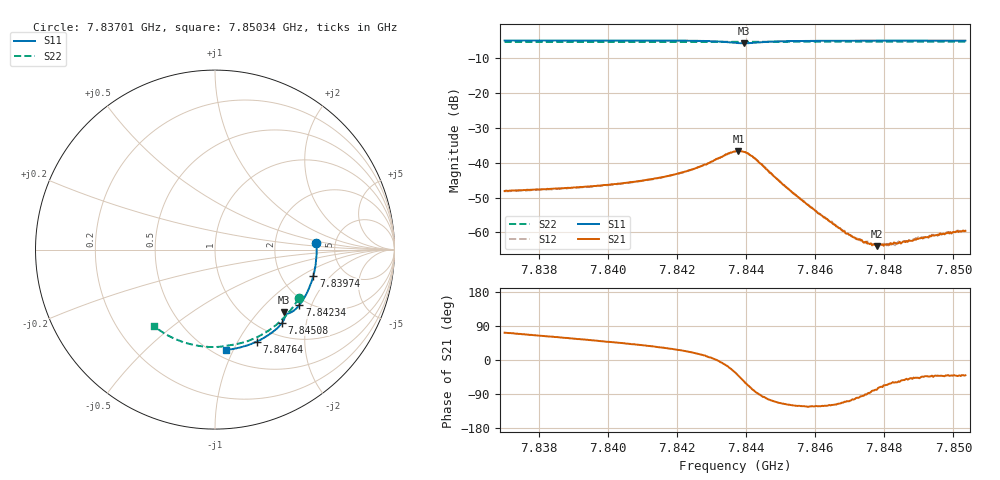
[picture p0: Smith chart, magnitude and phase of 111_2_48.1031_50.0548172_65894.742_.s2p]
#  HZ  S  RI  R  50.00
! Rohde & Schwarz Vector Network Analyzer
! Rohde-Schwarz,ZNB20-2Port,1311601062101988,3.16
! Created: UTC 12/23/2023, 3:45:45 AM
! freq[Hz]  re:S11  im:S11  re:S21  im:S21  re:S12  im:S12  re:S22  im:S22
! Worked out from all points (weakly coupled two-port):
!   401 points, 7.83701 GHz to 7.85034 GHz, reference 50 ohm
!   highest |S21| = -36.62 dB at 7.84378 GHz (marker M1); lowest = -63.9 dB at 7.84778 GHz (marker M2)
!   lowest |S11| = -5.7 dB at 7.84394 GHz (marker M3), VSWR 3.14, Z = 73.1 - j69.1 ohm
!   |S11| at or under -10 dB: nowhere
!   |S22| runs from -5.4 to -5.3 dB; largest |S21 - S12| = 0.00032
!   S11 on the Smith chart (normalised r, x): 7.83701 GHz: 3.57, +0.36; 7.83974 GHz: 3.00, -1.29; 7.84234 GHz: 1.82, -1.64; 7.84508 GHz: 1.25, -1.46; 7.84764 GHz: 0.80, -1.20; 7.85034 GHz: 0.57, -0.93
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7.837012e9  0.5651 0.0347  0.00121 0.00373  0.00124 0.00367  0.4667 -0.2709
7.839245e9  0.5555 -0.1133  0.0026 0.00364  0.00258 0.00361  0.3704 -0.3935
7.839745e9  0.5478 -0.1461  0.003 0.00359  0.00301 0.00356  0.3441 -0.4169
7.841478e9  0.5044 -0.2562  0.00506 0.00337  0.005 0.00338  0.2427 -0.4838
7.842345e9  0.4704 -0.3084  0.00721 0.00285  0.00713 0.0029  0.1869 -0.5081
7.843178e9  0.4217 -0.3511  0.0114 -0.000313  0.0113 -0.000262  0.1304 -0.5246
7.843678e9  0.3866 -0.3541  0.0122 -0.00776  0.0121 -0.00768  0.097 -0.5304
7.843778e9  0.3831 -0.351  0.0111 -0.00973  0.0111 -0.00968  0.0908 -0.5313
7.843945e9  0.3824 -0.347  0.00779 -0.0119  0.00782 -0.0119  0.0802 -0.533
7.844245e9  0.3897 -0.3528  0.00161 -0.0115  0.00165 -0.0115  0.0607 -0.5368
7.845078e9  0.3742 -0.4072  -0.00205 -0.00435  -0.00207 -0.00437  0.00278 -0.5427
7.845911e9  0.3325 -0.4507  -0.00117 -0.00189  -0.00123 -0.00189  -0.0561 -0.5407
7.846845e9  0.2799 -0.4876  -0.000356 -0.000975  -0.000365 -0.000989  -0.1209 -0.5306
7.847111e9  0.2642 -0.4967  -0.00021 -0.00082  -0.000207 -0.000822  -0.1392 -0.5263
7.847411e9  0.2461 -0.5062  -4.86e-05 -0.000709  -9.77e-07 -0.000731  -0.1595 -0.5206
7.847645e9  0.2319 -0.5129  9.82e-05 -0.000651  8.34e-05 -0.000643  -0.1752 -0.5158
7.847778e9  0.2237 -0.5165  0.000124 -0.000625  0.00014 -0.000645  -0.1839 -0.5128
7.848145e9  0.201 -0.5259  0.000307 -0.000588  0.000321 -0.000611  -0.2078 -0.5038
7.848245e9  0.1947 -0.5282  0.000357 -0.000583  0.000347 -0.000577  -0.2144 -0.5012
7.848478e9  0.1798 -0.5336  0.000402 -0.000564  0.000415 -0.000586  -0.2297 -0.4947
7.849378e9  0.1219 -0.5495  0.00068 -0.000597  0.000684 -0.000626  -0.2853 -0.4651
7.850345e9  0.0587 -0.5594  0.000803 -0.000681  0.000803 -0.000699  -0.3411 -0.4266
